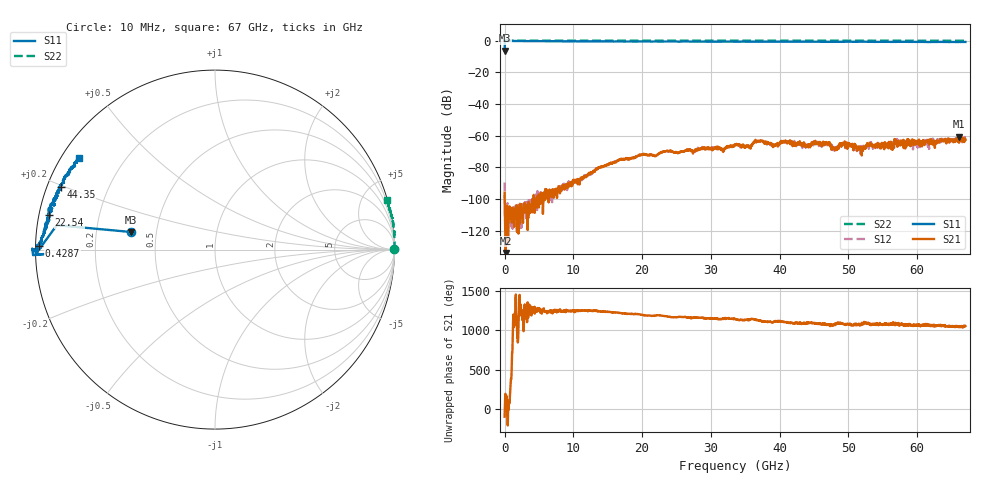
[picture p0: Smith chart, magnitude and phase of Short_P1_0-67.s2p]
!Keysight Technologies,N5247B,MY61256062,A.16.20.04
!Date: Saturday, November 29, 2025 06:30:45
!Correction: S11(C  2-Port  )
!S21(C  2-Port  )
!S12(C  2-Port  )
!S22(C  2-Port  )
!S2P File: Measurements: S11, S21, S12, S22:
# Hz S  dB  R 50
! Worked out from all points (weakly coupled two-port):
!   1601 points, 10 MHz to 67 GHz, reference 50 ohm
!   highest |S21| = -60.65 dB at 66.12 GHz (marker M1); lowest = -134.1 dB at 177.5 MHz (marker M2)
!   lowest |S11| = -6.4 dB at 10 MHz (marker M3), VSWR 2.85, Z = 17.7 + j4.52 ohm
!   |S11| at or under -10 dB: nowhere
!   |S22| runs from 0.0 to 0.0 dB; largest |S21 - S12| = 0.00034
!   S11 on the Smith chart (normalised r, x): 10 MHz: 0.35, +0.09; 428.7 MHz: 0.01, +0.01; 22.54 GHz: 0.03, +0.10; 44.35 GHz: 0.04, +0.19; 67 GHz: 0.05, +0.30
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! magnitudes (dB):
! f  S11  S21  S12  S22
! 10 MHz  -6.4  -96.1  -89.6  0.0
! 177.5 MHz  0.1  -134.1  -110.0  0.0
! 428.7 MHz  -0.2  -108.3  -102.6  0.0
! 11.19 GHz  -0.4  -86.5  -86.8  0.0
! 14.04 GHz  -0.4  -79.6  -80.0  0.0
! 19.81 GHz  -0.4  -72.2  -71.6  0.0
! 22.37 GHz  -0.5  -71.6  -71.7  0.0
! 22.54 GHz  -0.5  -71.1  -71.0  0.0
! 31.75 GHz  -0.6  -69.0  -69.3  0.0
! 33.51 GHz  -0.6  -65.6  -66.0  0.0
! 35.56 GHz  -0.6  -67.6  -67.0  0.0
! 37.23 GHz  -0.6  -63.4  -63.2  0.0
! 38.99 GHz  -0.6  -65.6  -65.5  0.0
! 41.21 GHz  -0.6  -63.9  -63.7  0.0
! 44.35 GHz  -0.6  -65.5  -65.5  0.0
! 44.68 GHz  -0.6  -64.0  -65.3  0.0
! 49.12 GHz  -0.7  -65.7  -65.8  0.0
! 51.97 GHz  -0.7  -68.5  -69.0  0.0
! 53.1 GHz  -0.7  -64.7  -64.8  0.0
! 55.86 GHz  -0.7  -63.9  -64.8  0.0
! 66.12 GHz  -0.8  -60.7  -63.3  0.0
! 67 GHz  -0.8  -62.7  -62.4  0.0
